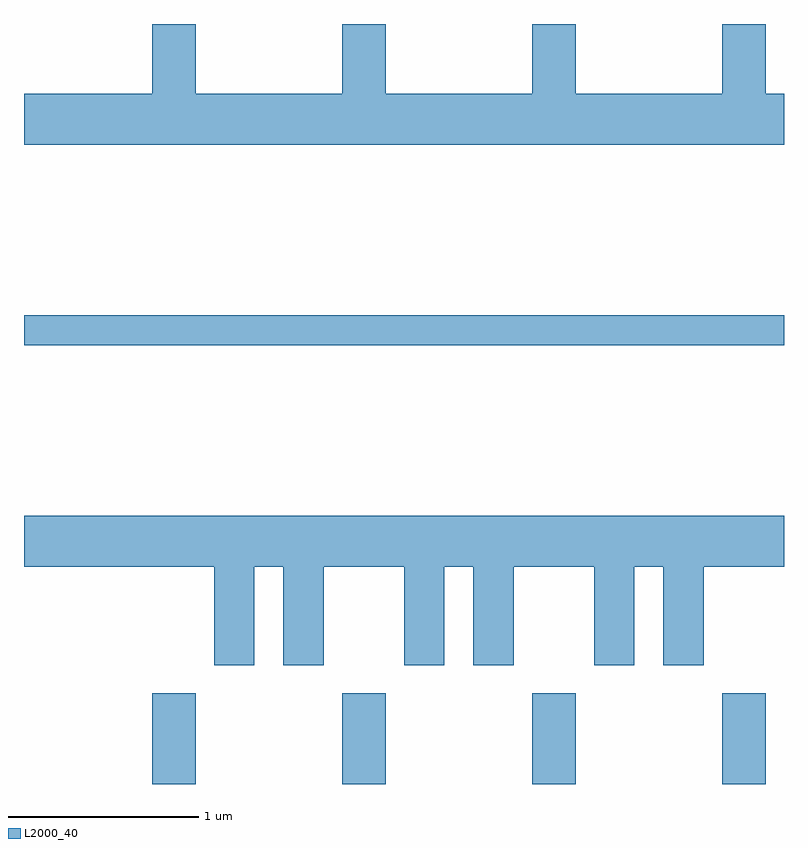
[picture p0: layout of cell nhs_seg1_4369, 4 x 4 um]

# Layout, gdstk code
import gdstk
lib = gdstk.Library(unit=1e-6, precision=1e-09)
def R(c, l, rs):  # rectangles x0, y0, x1, y1
    for r in rs: c.add(gdstk.rectangle(r[:2], r[2:], *l))
def A(c, l, x, y, w, h, nx, ny, dx, dy):  # array of equal rectangles
    R(c, l, [(x+i*dx, y+j*dy, x+i*dx+w, y+j*dy+h) for i in range(nx) for j in range(ny)])
def P(c, l, *ps):  # polygons
    for p in ps: c.add(gdstk.Polygon(p, *l))
L2000_40 = (2000, 40)

nhs_seg1_4369 = lib.new_cell('nhs_seg1_4369')
A(nhs_seg1_4369, L2000_40, 316.286, 951.712, 0.228, 0.477, 4, 1, 1, 0)
R(nhs_seg1_4369, L2000_40, [(315.611,954.021,319.611,954.179)])
P(nhs_seg1_4369, L2000_40, [(319.611,955.344),(319.514,955.344),(319.514,955.712),(319.286,955.712),(319.286,955.344),(318.514,955.344),(318.514,955.712),(318.286,955.712),(318.286,955.344),(317.514,955.344),(317.514,955.712),(317.286,955.712),(317.286,955.344),(316.514,955.344),(316.514,955.712),(316.286,955.712),(316.286,955.344),(315.611,955.344),(315.611,955.076),(319.611,955.076)],
  [(316.824,952.856),(316.976,952.856),(316.976,952.336),(317.189,952.336),(317.189,952.856),(317.611,952.856),(317.611,952.336),(317.824,952.336),(317.824,952.856),(317.976,952.856),(317.976,952.336),(318.189,952.336),(318.189,952.856),(318.611,952.856),(318.611,952.336),(318.824,952.336),(318.824,952.856),(318.976,952.856),(318.976,952.336),(319.189,952.336),(319.189,952.856),(319.611,952.856),(319.611,953.124),(315.611,953.124),(315.611,952.856),(316.611,952.856),(316.611,952.336),(316.824,952.336)])

lib.write_gds('nhs_seg1_4369.gds')
